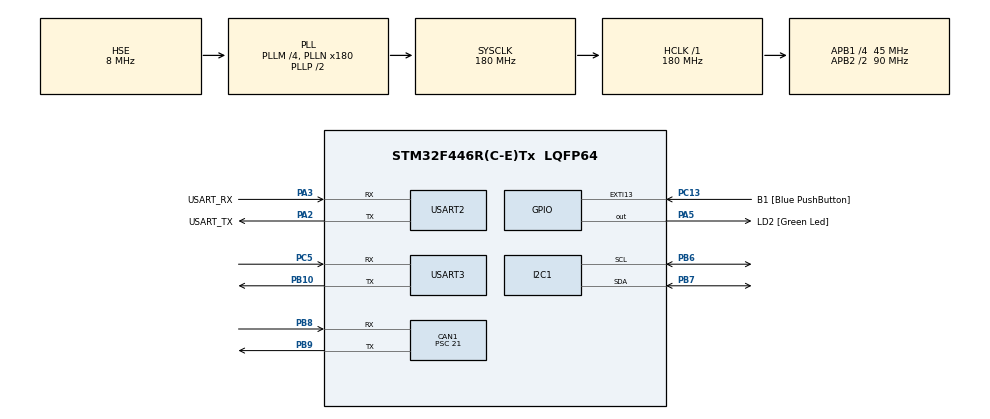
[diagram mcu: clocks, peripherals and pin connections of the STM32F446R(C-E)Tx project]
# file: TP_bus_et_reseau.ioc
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CAN1.BS1=CAN_BS1_2TQ
CAN1.CalculateBaudRate=535714
CAN1.CalculateTimeBit=1866
CAN1.CalculateTimeQuantum=466.66666666666663
CAN1.Prescaler=21
Dma.Request0=USART3_RX
Dma.Request1=USART2_RX
Dma.USART2_RX.1.Direction=DMA_PERIPH_TO_MEMORY
Dma.USART2_RX.1.FIFOMode=DMA_FIFOMODE_DISABLE
Dma.USART2_RX.1.Instance=DMA1_Stream5
Dma.USART2_RX.1.MemDataAlignment=DMA_MDATAALIGN_BYTE
Dma.USART2_RX.1.MemInc=DMA_MINC_ENABLE
Dma.USART2_RX.1.Mode=DMA_NORMAL
Dma.USART2_RX.1.PeriphDataAlignment=DMA_PDATAALIGN_BYTE
Dma.USART2_RX.1.PeriphInc=DMA_PINC_DISABLE
Dma.USART2_RX.1.Priority=DMA_PRIORITY_LOW
Dma.USART3_RX.0.Direction=DMA_PERIPH_TO_MEMORY
Dma.USART3_RX.0.FIFOMode=DMA_FIFOMODE_DISABLE
Dma.USART3_RX.0.Instance=DMA1_Stream1
Dma.USART3_RX.0.MemDataAlignment=DMA_MDATAALIGN_BYTE
Dma.USART3_RX.0.MemInc=DMA_MINC_ENABLE
Dma.USART3_RX.0.Mode=DMA_NORMAL
Dma.USART3_RX.0.PeriphDataAlignment=DMA_PDATAALIGN_BYTE
Dma.USART3_RX.0.PeriphInc=DMA_PINC_DISABLE
Dma.USART3_RX.0.Priority=DMA_PRIORITY_LOW
I2C1.AddressingMode=I2C_ADDRESSINGMODE_7BIT
I2C1.I2C_Mode=I2C_Standard
I2C1.NoStretchMode=I2C_NOSTRETCH_ENABLE
I2C1.OwnAddress=0x0
Mcu.Family=STM32F4
Mcu.Name=STM32F446R(C-E)Tx
Mcu.Package=LQFP64
NVIC.DMA1_Stream1_IRQn=true\:0\:0\:false\:false\:true\:false\:true\:true
NVIC.DMA1_Stream5_IRQn=true\:0\:0\:false\:false\:true\:false\:true\:true
NVIC.PriorityGroup=NVIC_PRIORITYGROUP_0
NVIC.TIM7_IRQn=true\:0\:0\:false\:false\:true\:true\:true\:true
NVIC.USART2_IRQn=true\:0\:0\:false\:false\:true\:true\:true\:true
NVIC.USART3_IRQn=true\:0\:0\:false\:false\:true\:true\:true\:true
PA13.GPIO_Label=TMS
PA13.Mode=Serial_Wire
PA13.Signal=SYS_JTMS-SWDIO
PA14.GPIO_Label=TCK
PA14.Mode=Serial_Wire
PA14.Signal=SYS_JTCK-SWCLK
PA2.GPIO_Label=USART_TX
PA2.Mode=Asynchronous
PA2.Signal=USART2_TX
PA3.GPIO_Label=USART_RX
PA3.Mode=Asynchronous
PA3.Signal=USART2_RX
PA5.GPIO_Label=LD2 [Green Led]
PA5.Signal=GPIO_Output
PB10.Mode=Asynchronous
PB10.Signal=USART3_TX
PB3.GPIO_Label=SWO
PB3.Signal=SYS_JTDO-SWO
PB6.Mode=I2C
PB6.Signal=I2C1_SCL
PB7.Mode=I2C
PB7.Signal=I2C1_SDA
PB8.Mode=CAN_Activate
PB8.Signal=CAN1_RX
PB9.Mode=CAN_Activate
PB9.Signal=CAN1_TX
PC13.GPIO_Label=B1 [Blue PushButton]
PC13.GPIO_ModeDefaultEXTI=GPIO_MODE_IT_FALLING
PC13.Signal=GPXTI13
PC14-OSC32_IN.Mode=LSE-External-Oscillator
PC14-OSC32_IN.Signal=RCC_OSC32_IN
PC15-OSC32_OUT.Mode=LSE-External-Oscillator
PC15-OSC32_OUT.Signal=RCC_OSC32_OUT
PC5.Mode=Asynchronous
PC5.Signal=USART3_RX
PH0-OSC_IN.Mode=HSE-External-Oscillator
PH0-OSC_IN.Signal=RCC_OSC_IN
PH1-OSC_OUT.Mode=HSE-External-Oscillator
PH1-OSC_OUT.Signal=RCC_OSC_OUT
ProjectManager.HeapSize=0x200
ProjectManager.StackSize=0x400
ProjectManager.TargetToolchain=STM32CubeIDE
RCC.48MHZClocksFreq_Value=84000000
RCC.AHBFreq_Value=180000000
RCC.APB1CLKDivider=RCC_HCLK_DIV4
RCC.APB1Freq_Value=45000000
RCC.APB1TimFreq_Value=90000000
RCC.APB2CLKDivider=RCC_HCLK_DIV2
RCC.APB2Freq_Value=90000000
RCC.APB2TimFreq_Value=180000000
RCC.CortexFreq_Value=180000000
RCC.FLatency-AdvancedSettings=FLASH_LATENCY_5
RCC.HCLKFreq_Value=180000000
RCC.HSE_VALUE=8000000
RCC.HSI_VALUE=16000000
RCC.PLLM=4
RCC.PLLN=180
RCC.PLLSourceVirtual=RCC_PLLSOURCE_HSE
RCC.SYSCLKFreq_VALUE=180000000
RCC.SYSCLKSource=RCC_SYSCLKSOURCE_PLLCLK
RCC.USBFreq_Value=180000000
RCC.VCOOutputFreq_Value=360000000
TIM7.Period=100-1
TIM7.Prescaler=1800-1
USART2.VirtualMode=VM_ASYNC
USART3.VirtualMode=VM_ASYNC
VP_TIM7_VS_ClockSourceINT.Mode=Enable_Timer
board=NUCLEO-F446RE

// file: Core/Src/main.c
/* USER CODE BEGIN Header */
/**
 ******************************************************************************
 * @file           : main.c
 * @brief          : Main program body
 ******************************************************************************
 * @attention
 *
 * Copyright (c) 2023 STMicroelectronics.
 * All rights reserved.
 *
 * This software is licensed under terms that can be found in the LICENSE file
 * in the root directory of this software component.
 * If no LICENSE file comes with this software, it is provided AS-IS.
 *
 ******************************************************************************
 */
/* USER CODE END Header */
#include "main.h"
#include "can.h"
#include "dma.h"
#include "i2c.h"
#include "tim.h"
#include "usart.h"
#include "gpio.h"

/* USER CODE BEGIN Includes */
#include "stdio.h"
#include "BMP280.h"
/* USER CODE END Includes */

/* USER CODE BEGIN PV */
extern UART_HandleTypeDef huart2;
extern UART_HandleTypeDef huart3;
extern DMA_HandleTypeDef hdma_usart2_rx;
extern DMA_HandleTypeDef hdma_usart3_rx;
extern CAN_HandleTypeDef hcan1;
extern TIM_HandleTypeDef htim7;

CAN_TxHeaderTypeDef pHeader;
uint32_t pTxMailbox;
uint8_t aData[2];
int angle=0;
int K=1000;
int A=1257;
uint8_t RxChar;
uint8_t RxBuffer[RX_BUFFER_SIZE];
BMP280_S32_t last_temp;
uint8_t calibration_data[Calibration_size];
/* USER CODE END PV */

void SystemClock_Config(void);

int main(void)
{

	/* MCU Configuration--------------------------------------------------------*/

	/* Reset of all peripherals, Initializes the Flash interface and the Systick. */
	HAL_Init();

	/* Configure the system clock */
	SystemClock_Config();

	/* Initialize all configured peripherals */
	MX_GPIO_Init();
	MX_DMA_Init();
	MX_USART2_UART_Init();
	MX_I2C1_Init();
	MX_USART3_UART_Init();
	MX_CAN1_Init();
	MX_TIM7_Init();
	/* USER CODE BEGIN 2 */

	HAL_CAN_Start(&hcan1);
	printf("\r\n can started \r\n");
	aData[0]=0;
	aData[1]=0;
	pHeader.StdId= 0x61;
	pHeader.IDE=CAN_ID_STD;
	pHeader.RTR=CAN_RTR_DATA;
	pHeader.DLC=2;
	pHeader.TransmitGlobalTime=DISABLE;
	HAL_CAN_AddTxMessage ( &hcan1, &pHeader,aData,&pTxMailbox);
	HAL_TIM_Base_Start_IT(&htim7);

	HAL_UARTEx_ReceiveToIdle_DMA(&huart3, RxBuffer, RX_BUFFER_SIZE);
	__HAL_DMA_DISABLE_IT(&hdma_usart3_rx, DMA_IT_HT);
	printf("\r\nChecking for BMP280\r\n");
	BMP280_check();
	printf("\r\nConfigure BMP280\r\n");
	BMP280_init();
	BMP280_get_trimming(calibration_data);

	/* USER CODE END 2 */

	/* Infinite loop */
	while (1)
	{

			  /*uint8_t reg = 0xD0;
			  HAL_I2C_Master_Transmit(&hi2c1, 0x77<<1 , &reg, 1, 100);
			  HAL_I2C_Master_Receive(&hi2c1, 0x77<<1, &reg, 1, 100);
		       HAL_Delay(1000);*/
		     /*  printf("id : 0x%02X",reg);*/
		      BMP280_get_temperature();
		      	  BMP280_get_pressure();
		      	  HAL_Delay(1000);
		      	last_temp=BMP280_get_temperature();
		      		printf("T=%d\r\n",last_temp);
		      		angle=((last_temp-2500))*K/10000;
		      		printf("angle=%d\r\n",angle);
		      		if(angle>=0)
		      		{
		      			aData[1]=1;
		      		}
		      		else
		      		{
		      			aData[1]=0;
		      		}
		      		aData[0]=abs(angle);
		      		if(HAL_CAN_AddTxMessage( &hcan1, &pHeader,aData,&pTxMailbox)==HAL_OK)
		      		{
		      			printf("Motor transmission succeded\r\n");
		      		}
		      		else {
		      			printf("Motor transmission not succeded\r\n");
		      		}
		      	  /* USER CODE END WHILE */

		          /* USER CODE BEGIN 3 */

		    /* USER CODE BEGIN 3 */
	}
	/* USER CODE END 3 */
}

void SystemClock_Config(void)
{
	RCC_OscInitTypeDef RCC_OscInitStruct = {0};
	RCC_ClkInitTypeDef RCC_ClkInitStruct = {0};

	/** Configure the main internal regulator output voltage
	 */
	__HAL_RCC_PWR_CLK_ENABLE();
	__HAL_PWR_VOLTAGESCALING_CONFIG(PWR_REGULATOR_VOLTAGE_SCALE1);

	/** Initializes the RCC Oscillators according to the specified parameters
	 * in the RCC_OscInitTypeDef structure.
	 */
	RCC_OscInitStruct.OscillatorType = RCC_OSCILLATORTYPE_HSE;
	RCC_OscInitStruct.HSEState = RCC_HSE_ON;
	RCC_OscInitStruct.PLL.PLLState = RCC_PLL_ON;
	RCC_OscInitStruct.PLL.PLLSource = RCC_PLLSOURCE_HSE;
	RCC_OscInitStruct.PLL.PLLM = 4;
	RCC_OscInitStruct.PLL.PLLN = 180;
	RCC_OscInitStruct.PLL.PLLP = RCC_PLLP_DIV2;
	RCC_OscInitStruct.PLL.PLLQ = 2;
	RCC_OscInitStruct.PLL.PLLR = 2;
	if (HAL_RCC_OscConfig(&RCC_OscInitStruct) != HAL_OK)
	{
		Error_Handler();
	}

	/** Activate the Over-Drive mode
	 */
	if (HAL_PWREx_EnableOverDrive() != HAL_OK)
	{
		Error_Handler();
	}

	/** Initializes the CPU, AHB and APB buses clocks
	 */
	RCC_ClkInitStruct.ClockType = RCC_CLOCKTYPE_HCLK|RCC_CLOCKTYPE_SYSCLK
			|RCC_CLOCKTYPE_PCLK1|RCC_CLOCKTYPE_PCLK2;
	RCC_ClkInitStruct.SYSCLKSource = RCC_SYSCLKSOURCE_PLLCLK;
	RCC_ClkInitStruct.AHBCLKDivider = RCC_SYSCLK_DIV1;
	RCC_ClkInitStruct.APB1CLKDivider = RCC_HCLK_DIV4;
	RCC_ClkInitStruct.APB2CLKDivider = RCC_HCLK_DIV2;

	if (HAL_RCC_ClockConfig(&RCC_ClkInitStruct, FLASH_LATENCY_5) != HAL_OK)
	{
		Error_Handler();
	}
}

/* USER CODE BEGIN 4 */
void HAL_UARTEx_RxEventCallback(UART_HandleTypeDef *huart, uint16_t Size)
{
	if (huart->Instance == USART3)
	{
		RxBuffer[Size]='\r';
		RxBuffer[Size+1]='\n';
		protocol(RxBuffer,Size+2);
		HAL_UARTEx_ReceiveToIdle_DMA(&huart3, RxBuffer, RX_BUFFER_SIZE);
		__HAL_DMA_DISABLE_IT(&hdma_usart3_rx, DMA_IT_HT);
	}
}

void HAL_TIM_PeriodElapsedCallback(TIM_HandleTypeDef *htim)
{
	/*last_temp=BMP280_get_temperature();
	printf("T=%d\r\n",last_temp);
	angle=((last_temp-2500))*K/10000;
	printf("angle=%d\r\n",angle);
	if(angle>=0)
	{
		aData[1]=1;
	}
	else
	{
		aData[1]=0;
	}
	aData[0]=abs(angle);
	if(HAL_CAN_AddTxMessage( &hcan1, &pHeader,aData,&pTxMailbox)==HAL_OK)
	{
		printf("Motor transmission succeded\r\n");
	}
	else {
		printf("Motor transmission not succeded\r\n");
	}*/
}
/* USER CODE END 4 */

void Error_Handler(void)
{
	__disable_irq();
	while (1)
	{
	}
}
